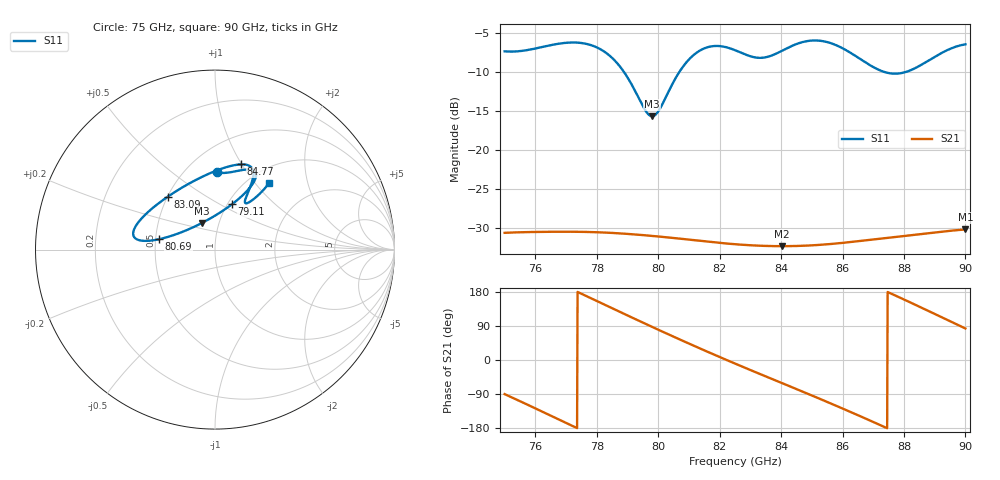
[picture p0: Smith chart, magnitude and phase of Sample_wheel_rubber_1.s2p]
!SWISSto12 MCK measurement data
!name=Sample_wheel_rubber_1
!thickness[mm]=12.500
# GHz S RI R 50.0
!freq ReS11 ImS11 ReS21 ImS21 ReS12 ImS12 ReS22 ImS22
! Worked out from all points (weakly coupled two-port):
!   961 points, 75 GHz to 90 GHz, reference 50 ohm
!   highest |S21| = -30.13 dB at 90 GHz (marker M1); lowest = -32.3 dB at 84.03 GHz (marker M2)
!   lowest |S11| = -15.6 dB at 79.8 GHz (marker M3), VSWR 1.40, Z = 41.4 + j12.6 ohm
!   |S11| at or under -10 dB: 78.89 GHz to 80.68 GHz (1.793 GHz wide, 2.25 % of centre); 87.39 GHz to 88.04 GHz (652.1 MHz wide, 0.743 % of centre)
!   S12 and S22 are empty: the file has one direction only
!   S11 on the Smith chart (normalised r, x): 75 GHz: 0.70, +0.74; 79.11 GHz: 1.05, +0.57; 80.69 GHz: 0.52, +0.07; 83.09 GHz: 0.50, +0.35; 84.77 GHz: 0.79, +0.99; 90 GHz: 1.23, +1.18
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75  0.0112 0.43  -1.09e-05 -0.0296  0 0  0 0
77.5  0.2249 0.4311  -0.03 0.00271  0 0  0 0
78.375  0.2029 0.3563  -0.0232 0.0185  0 0  0 0
78.75  0.1581 0.3064  -0.0177 0.0234  0 0  0 0
79.10938  0.0942 0.2524  -0.0116 0.0267  0 0  0 0
79.57812  -0.0153 0.1799  -0.00287 0.0284  0 0  0 0
79.79688  -0.0735 0.148  0.00121 0.0283  0 0  0 0
80  -0.1296 0.1208  0.00488 0.0277  0 0  0 0
80.6875  -0.3119 0.0578  0.0157 0.0222  0 0  0 0
81.14062  -0.4023 0.0492  0.0209 0.0165  0 0  0 0
81.625  -0.4522 0.0728  0.0243 0.00934  0 0  0 0
82.0625  -0.4471 0.121  0.0254 0.00254  0 0  0 0
82.5  -0.3948 0.1884  0.0247 -0.0041  0 0  0 0
83.09375  -0.2644 0.294  0.0214 -0.0122  0 0  0 0
83.51562  -0.1489 0.3654  0.0176 -0.0169  0 0  0 0
84.03125  -0.00825 0.4338  0.0118 -0.0213  0 0  0 0
84.76562  0.1446 0.4749  0.00189 -0.0244  0 0  0 0
85  0.1754 0.4726  -0.00151 -0.0246  0 0  0 0
85.78125  0.2143 0.4204  -0.0128 -0.0218  0 0  0 0
87.5  0.1665 0.2641  -0.0276 0.00082  0 0  0 0
88.15625  0.1869 0.2621  -0.0256 0.0126  0 0  0 0
90  0.2991 0.3712  0.00368 0.0309  0 0  0 0
